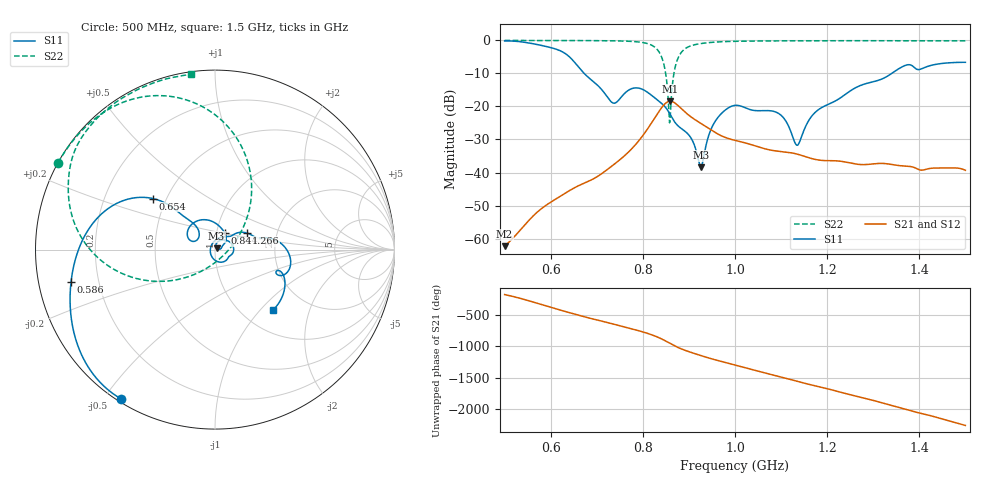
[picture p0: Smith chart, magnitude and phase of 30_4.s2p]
! TOUCHSTONE file generated by CST MICROWAVE STUDIO
! Date and time: Wed Oct 28 19:19:03 2020
! Project name: Scenario_1_Circular_Tissue_out_of_Line.cst
! Parameters = {dy1=156.889; L_HA=400; MT=2.54; Rad_Dielectric=30; Rad_Lower=7.3; Rad_Upper=30; a_HA=580; a_WG=246; b_HA=500; b_WG=121; c_HA=0; c_WG=187; d_feed=85; dx1=693; h_feed=15; h_lower=18; h_upper=40}
! Header version: 2018
! Port assignment regex: !\s*Touchstone port\s*([0-9]+)\s*=\s*(CST MWS port|CST DS port)\s*([0-9]+|Zmin|Zmax)\s*\(\"(.*)\"\)(\s*mode\s*([0-9]+))?.*
! Touchstone port assignment:
! Touchstone port 1 = CST MWS port 1 ("")
! Touchstone port 2 = CST MWS port 2 ("")
# GHz S DB R 50
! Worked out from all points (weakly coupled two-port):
!   1001 points, 500 MHz to 1.5 GHz, reference 50 ohm
!   highest |S21| = -18.40 dB at 859 MHz (marker M1); lowest = -62.3 dB at 500 MHz (marker M2)
!   lowest |S11| = -38.4 dB at 926 MHz (marker M3), VSWR 1.02, Z = 50.9 + j0.797 ohm
!   |S11| at or under -10 dB: 672.7 MHz to 1.34 GHz (667.3 MHz wide, 66.3 % of centre)
!   |S22| runs from -24.9 to 0.0 dB; largest |S21 - S12| = 0.00011
!   S11 on the Smith chart (normalised r, x): 500 MHz: 0.01, -0.55; 586 MHz: 0.10, -0.11; 654 MHz: 0.42, +0.30; 844 MHz: 1.10, +0.20; 1.266 GHz: 1.40, +0.27; 1.5 GHz: 1.37, -1.18
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0.5  -0.15 -122.2  -62.31 -172.1  -62.38 -171.8  -0.01 151.1
0.586  -1.70 -167.3  -50.31 13.3  -50.31 13.3  -0.02 145.2
0.654  -6.98 140.5  -44.45 -129.5  -44.45 -129.5  -0.04 139.6
0.667  -9.14 135.8  -43.57 -156.0  -43.57 -156.0  -0.04 138.4
0.735  -18.93 143.5  -37.81 77.8  -37.81 77.8  -0.12 130.1
0.784  -14.37 133.9  -31.58 -16.0  -31.58 -16.0  -0.38 119.1
0.834  -18.30 71.6  -21.71 -138.3  -21.71 -138.3  -3.24 84.0
0.844  -19.49 58.7  -19.78 -173.2  -19.78 -173.2  -6.39 66.0
0.859  -22.35 38.3  -18.40 126.8  -18.40 126.8  -24.17 -74.7
0.869  -24.68 31.8  -18.90 87.5  -18.90 87.5  -8.81 -150.8
0.879  -26.20 28.6  -20.07 53.1  -20.07 53.1  -4.60 -170.3
0.905  -29.66 9.2  -23.21 -17.8  -23.21 -17.8  -1.59 164.9
0.926  -38.40 40.6  -25.14 -67.8  -25.14 -67.8  -0.95 155.7
0.955  -24.95 61.9  -27.73 -131.3  -27.73 -131.3  -0.52 148.1
1  -19.66 5.0  -30.26 141.9  -30.26 141.9  -0.27 140.3
1.095  -22.15 -64.0  -33.58 -40.1  -33.58 -40.1  -0.13 130.2
1.134  -31.72 177.4  -34.39 -116.9  -34.39 -116.9  -0.11 126.9
1.167  -22.84 67.9  -35.80 -179.1  -35.80 -179.1  -0.09 124.2
1.266  -14.02 27.8  -37.51 -2.1  -37.50 -2.2  -0.08 116.6
1.334  -10.55 12.9  -37.43 -133.4  -37.43 -133.4  -0.09 111.5
1.373  -7.42 -8.1  -38.08 149.5  -38.09 149.5  -0.09 108.5
1.5  -6.63 -46.0  -39.32 -104.3  -39.29 -103.8  -0.13 97.9
